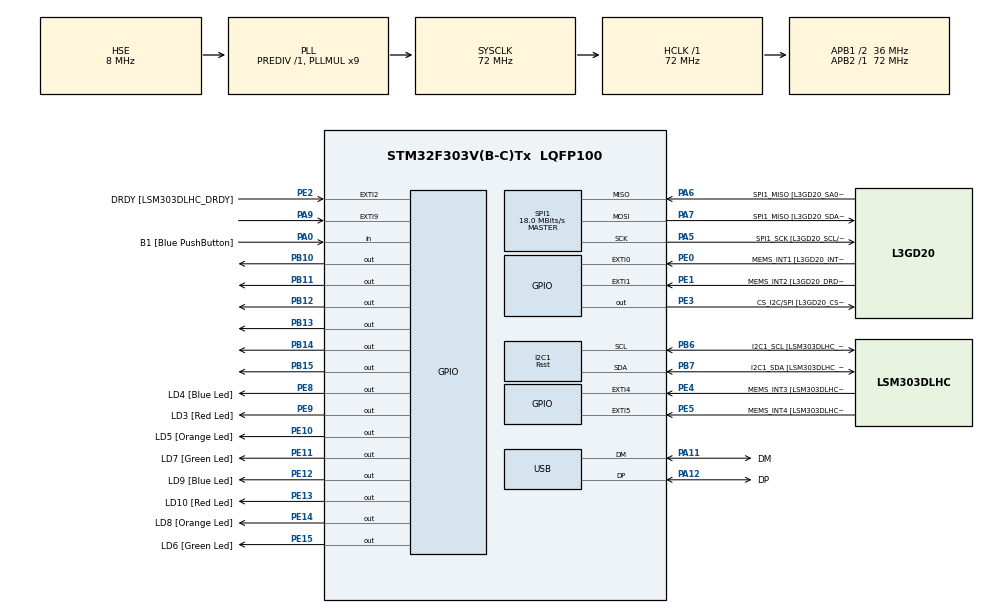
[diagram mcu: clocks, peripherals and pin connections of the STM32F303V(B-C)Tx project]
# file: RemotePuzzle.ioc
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I2C1.I2C_Speed_Mode=I2C_Fast
I2C1.Timing=0x0000020B
I2C1.Timing-I2C=0x2000090E
Mcu.Family=STM32F3
Mcu.Name=STM32F303V(B-C)Tx
Mcu.Package=LQFP100
NVIC.EXTI9_5_IRQn=true\:0\:0\:false\:false\:true\:true\:true\:true
NVIC.PriorityGroup=NVIC_PRIORITYGROUP_0
PA0.GPIO_Label=B1 [Blue PushButton]
PA0.Signal=GPIO_Input
PA11.GPIO_Label=DM
PA11.Mode=Device
PA11.Signal=USB_DM
PA12.GPIO_Label=DP
PA12.Mode=Device
PA12.Signal=USB_DP
PA13.GPIO_Label=SWDIO
PA13.Mode=Serial_Wire
PA13.Signal=SYS_JTMS-SWDIO
PA14.GPIO_Label=SWCLK
PA14.Mode=Serial_Wire
PA14.Signal=SYS_JTCK-SWCLK
PA5.GPIO_Label=SPI1_SCK [L3GD20_SCL/SPC]
PA5.Mode=Full_Duplex_Master
PA5.Signal=SPI1_SCK
PA6.GPIO_Label=SPI1_MISO [L3GD20_SA0/SDO]
PA6.Mode=Full_Duplex_Master
PA6.Signal=SPI1_MISO
PA7.GPIO_Label=SPI1_MISO [L3GD20_SDA/SDI/SDO]
PA7.Mode=Full_Duplex_Master
PA7.Signal=SPI1_MOSI
PA9.GPIO_ModeDefaultEXTI=GPIO_MODE_IT_FALLING
PA9.Signal=GPXTI9
PB10.Signal=GPIO_Output
PB11.Signal=GPIO_Output
PB12.Signal=GPIO_Output
PB13.Signal=GPIO_Output
PB14.Signal=GPIO_Output
PB15.Signal=GPIO_Output
PB3.GPIO_Label=SWO
PB3.Signal=SYS_JTDO-TRACESWO
PB6.GPIO_Label=I2C1_SCL [LSM303DLHC_SCL]
PB6.GPIO_Pu=GPIO_PULLUP
PB6.Mode=I2C
PB6.Signal=I2C1_SCL
PB7.GPIO_Label=I2C1_SDA [LSM303DLHC_SDA]
PB7.GPIO_Pu=GPIO_PULLUP
PB7.Mode=I2C
PB7.Signal=I2C1_SDA
PC14-OSC32_IN.GPIO_Label=OSC32_IN
PC14-OSC32_IN.Signal=RCC_OSC32_IN
PC15-OSC32_OUT.GPIO_Label=OSC32_OUT
PC15-OSC32_OUT.Signal=RCC_OSC32_OUT
PE0.GPIO_Label=MEMS_INT1 [L3GD20_INT1]
PE0.GPIO_ModeDefaultEXTI=GPIO_MODE_EVT_RISING
PE0.Signal=GPXTI0
PE1.GPIO_Label=MEMS_INT2 [L3GD20_DRDY/INT2]
PE1.GPIO_ModeDefaultEXTI=GPIO_MODE_EVT_RISING
PE1.Signal=GPXTI1
PE10.GPIO_Label=LD5 [Orange Led]
PE10.Signal=GPIO_Output
PE11.GPIO_Label=LD7 [Green Led]
PE11.Signal=GPIO_Output
PE12.GPIO_Label=LD9 [Blue Led]
PE12.Signal=GPIO_Output
PE13.GPIO_Label=LD10 [Red Led]
PE13.Signal=GPIO_Output
PE14.GPIO_Label=LD8 [Orange Led]
PE14.Signal=GPIO_Output
PE15.GPIO_Label=LD6 [Green Led]
PE15.Signal=GPIO_Output
PE2.GPIO_Label=DRDY [LSM303DLHC_DRDY]
PE2.GPIO_ModeDefaultEXTI=GPIO_MODE_EVT_RISING
PE2.Signal=GPXTI2
PE3.GPIO_Label=CS_I2C/SPI [L3GD20_CS_I2C/SPI]
PE3.Signal=GPIO_Output
PE4.GPIO_Label=MEMS_INT3 [LSM303DLHC_INT1]
PE4.GPIO_ModeDefaultEXTI=GPIO_MODE_EVT_RISING
PE4.Signal=GPXTI4
PE5.GPIO_Label=MEMS_INT4 [LSM303DLHC_INT2]
PE5.GPIO_ModeDefaultEXTI=GPIO_MODE_EVT_RISING
PE5.Signal=GPXTI5
PE8.GPIO_Label=LD4 [Blue Led]
PE8.Signal=GPIO_Output
PE9.GPIO_Label=LD3 [Red Led]
PE9.Signal=GPIO_Output
PF0-OSC_IN.GPIO_Label=OSC_IN
PF0-OSC_IN.Mode=HSE-External-Oscillator
PF0-OSC_IN.Signal=RCC_OSC_IN
PF1-OSC_OUT.GPIO_Label=OSC_OUT
PF1-OSC_OUT.Mode=HSE-External-Oscillator
PF1-OSC_OUT.Signal=RCC_OSC_OUT
ProjectManager.HeapSize=0x200
ProjectManager.StackSize=0x400
ProjectManager.TargetToolchain=STM32CubeIDE
RCC.AHBFreq_Value=72000000
RCC.APB1CLKDivider=RCC_HCLK_DIV2
RCC.APB1Freq_Value=36000000
RCC.APB1TimFreq_Value=72000000
RCC.APB2Freq_Value=72000000
RCC.APB2TimFreq_Value=72000000
RCC.CortexFreq_Value=72000000
RCC.HCLKFreq_Value=72000000
RCC.HSE_VALUE=8000000
RCC.HSI_VALUE=8000000
RCC.LSE_VALUE=32768
RCC.PLLMUL=RCC_PLL_MUL9
RCC.PRESCALERUSB=RCC_USBCLKSOURCE_PLL_DIV1_5
RCC.SYSCLKFreq_VALUE=72000000
RCC.SYSCLKSourceVirtual=RCC_SYSCLKSOURCE_PLLCLK
RCC.USBFreq_Value=48000000
SPI1.BaudRatePrescaler=SPI_BAUDRATEPRESCALER_4
SPI1.BaudRatePrescaler-Full_Duplex_Master=SPI_BAUDRATEPRESCALER_2
SPI1.CalculateBaudRate=18.0 MBits/s
SPI1.CalculateBaudRate-Full_Duplex_Master=24.0 MBits/s
SPI1.Direction=SPI_DIRECTION_2LINES
SPI1.Mode=SPI_MODE_MASTER
SPI1.Mode-Full_Duplex_Master=SPI_MODE_MASTER
SPI1.VirtualType=VM_MASTER
TIM1.Prescaler=71
TIM2.Channel-Output\ Compare1\ No\ Output=TIM_CHANNEL_1
TIM2.Prescaler=71
VP_TIM1_VS_ClockSourceINT.Mode=Internal
VP_TIM2_VS_ClockSourceINT.Mode=Internal
VP_TIM2_VS_no_output1.Mode=Output Compare1 No Output
board=STM32F3DISCOVERY

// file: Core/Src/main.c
/* USER CODE BEGIN Header */
/**
  ******************************************************************************
  * @file           : main.c
  * @brief          : Main program body
  ******************************************************************************
  * @attention
  *
  * Copyright (c) 2023 STMicroelectronics.
  * All rights reserved.
  *
  * This software is licensed under terms that can be found in the LICENSE file
  * in the root directory of this software component.
  * If no LICENSE file comes with this software, it is provided AS-IS.
  *
  ******************************************************************************
  */
/* USER CODE END Header */
#include "main.h"

/* USER CODE BEGIN Includes */
#include "lcd.h"
#include "liquidcrystal_I2c.h"
#include <string.h>
/* USER CODE END Includes */

I2C_HandleTypeDef hi2c1;

SPI_HandleTypeDef hspi1;

TIM_HandleTypeDef htim1;
TIM_HandleTypeDef htim2;

PCD_HandleTypeDef hpcd_USB_FS;

/* USER CODE BEGIN PV */
uint32_t tempCode;
uint8_t bitIndex;
uint8_t cmd;
uint8_t cmdli;
uint32_t code;

uint8_t wor_cord[2] = {10, 10};		//the working coordinate array, used to input and compare
uint8_t cord1[2] = {1, 6};			//one of the coordinates that the magnet will be under
uint8_t cord2[2] = {2, 3};
uint8_t cord3[2] = {6, 4};

uint8_t completion[3] = {0,0,0};	//Array to keep track of which coordinates have been identified

uint8_t input;

uint8_t *led_register = ((uint8_t*)&(GPIOE->ODR)) + 1;
uint8_t *integ_register = ((uint8_t*)&(GPIOD->ODR));
/* USER CODE END PV */

void SystemClock_Config(void);
static void MX_GPIO_Init(void);
static void MX_I2C1_Init(void);
static void MX_SPI1_Init(void);
static void MX_USB_PCD_Init(void);
static void MX_TIM1_Init(void);
static void MX_TIM2_Init(void);
/* USER CODE BEGIN PFP */
void initialise_board();

/* USER CODE END PFP */

int main(void)
{

  /* MCU Configuration--------------------------------------------------------*/

  /* Reset of all peripherals, Initializes the Flash interface and the Systick. */
  HAL_Init();

  /* Configure the system clock */
  SystemClock_Config();

  /* Initialize all configured peripherals */
  MX_GPIO_Init();
  MX_I2C1_Init();
  MX_SPI1_Init();
  MX_USB_PCD_Init();
  MX_TIM1_Init();
  MX_TIM2_Init();
  /* USER CODE BEGIN 2 */
  HD44780_Init(2);

	RCC->AHBENR |= RCC_AHBENR_GPIOEEN | RCC_AHBENR_GPIODEN;
	initialise_board();

	HAL_TIM_Base_Start(&htim2);
	__HAL_TIM_SET_COUNTER(&htim2, 0);

  // Lcd_PortType ports[] = { D4_GPIO_Port, D5_GPIO_Port, D6_GPIO_Port, D7_GPIO_Port };
  Lcd_PortType ports[] = { GPIOB, GPIOB, GPIOB, GPIOB };
  // Lcd_PinType pins[] = {D4_Pin, D5_Pin, D6_Pin, D7_Pin};
  Lcd_PinType pins[] = {GPIO_PIN_10, GPIO_PIN_11, GPIO_PIN_12, GPIO_PIN_13};
  Lcd_HandleTypeDef lcd;
  // Lcd_create(ports, pins, RS_GPIO_Port, RS_Pin, EN_GPIO_Port, EN_Pin, LCD_4_BIT_MODE);
  lcd = Lcd_create(ports, pins, GPIOB, GPIO_PIN_15, GPIOB, GPIO_PIN_14, LCD_4_BIT_MODE);

  char lcd_num[10];

  HD44780_Init(2);
  HD44780_Clear();

  Lcd_cursor(&lcd, 0, 1);
//  HD44780_SetCursor(0,1);
  Lcd_string(&lcd, "Code Input");
//  HD44780_PrintStr("Code Input");

  Lcd_cursor(&lcd, 1, 3);
//  HD44780_SetCursor(1,3);
  Lcd_string(&lcd, "Starting");
//  HD44780_PrintStr("Starting");

  HAL_Delay(2000);

  /* USER CODE END 2 */

  /* Infinite loop */
  while (1)
  {

    /* USER CODE BEGIN 3 */

	  for (int i = 0; i < 2; i++)
	  {
		  Lcd_clear(&lcd);
//		  HD44780_Clear();

		  Lcd_cursor(&lcd, 0, 0);
//		  HD44780_SetCursor(0,0);

		  Lcd_string(&lcd, "Press CH to ");
//		  HD44780_PrintStr("Press CH to ");

		  Lcd_cursor(&lcd, 1, 0);
//		  HD44780_SetCursor(1,0);

		  Lcd_string(&lcd, "input");
//		  HD44780_PrintStr("input");

		  while(code != 16736925){} // "CH"

		  Lcd_clear(&lcd);
//		  HD44780_Clear();

		  Lcd_cursor(&lcd, 0, 1);
//		  HD44780_SetCursor(0,1);

		  Lcd_string(&lcd, "Awaiting input");
//		  HD44780_PrintStr("Awaiting input");

		  Lcd_cursor(&lcd, 0, 15);
//		  HD44780_SetCursor(0,15);

		  Lcd_int(&lcd, i + 1);
//		   sprintf(lcd_num, "%d", i +1);
//		   HD44780_PrintStr(lcd_num);

		  while(code == 16736925){} // waits for the first input
		  Lcd_clear(&lcd);
//		  HD44780_Clear();

		  Lcd_cursor(&lcd, 0, 15);	//shows which number in the code your inputting
//		  HD44780_SetCursor(0,15);

		  Lcd_int(&lcd, i + 1);
//		   sprintf(lcd_num, "%d", i +1);
//		   HD44780_PrintStr(lcd_num);

		  Lcd_cursor(&lcd, 0, 0);
//		  HD44780_SetCursor(0,0);

		  Lcd_string(&lcd, "Received!");
//		  HD44780_PrintStr("Received");

		  Lcd_cursor(&lcd, 1, 3);
//		  HD44780_SetCursor(1,3);

		  Lcd_string(&lcd, "Input: ");
//		  HD44780_PrintStr("Input");

		  Lcd_cursor(&lcd, 1, 10);
//		  HD44780_SetCursor(1,10);

		  Lcd_int(&lcd, input);		//shows which number is passed as an input
//		   sprintf(lcd_num, "%d", input);
//		   HD44780_PrintStr(lcd_num);

		  wor_cord[i] = input;

		  HAL_Delay(2000);
	  }

	  Lcd_clear(&lcd);
//	  HD44780_Clear();

	  Lcd_cursor(&lcd, 0, 1);
//	  HD44780_SetCursor(0,1);

	  Lcd_string(&lcd, "Co-ord received:   ");
//	  HD44780_PrintStr("Co-ord received:   ");

	  int j = 1;
	  for (int i = 0; i < 2; i++)
	  {
		  Lcd_cursor(&lcd, 1, j);
//		  HD44780_SetCursor(1,j);

		  Lcd_int(&lcd, wor_cord[i]);
//		   sprintf(lcd_num, "%d", wor_cord[i]);
//		   HD44780_PrintStr(lcd_num);
		  j += 2;
	  }
	  Lcd_cursor(&lcd, 1, 2);
//	  HD44780_SetCursor(1,2);

	  Lcd_string(&lcd, ",");
//	  HD44780_PrintStr(",");

	  while(code != 16736925){} // "CH"

//	  uint8_t cord1[2] = {1, 6};			//one of the coordinates that the magnet will be under
//	  uint8_t cord2[2] = {2, 3};
//	  uint8_t cord3[2] = {6, 4};

	  if (*led_register == 0b00000111)
	  {
		  *integ_register = 0b1;	//to be connected to the next STM32 to indicate that the puzzle has been completed
		  break;
	  }
	  else if (compare(wor_cord, cord1))
	  {
		  *led_register |= 0b00000001 << 0;
	  }
	  else if (compare(wor_cord, cord2))
	  {
		  *led_register |= 0b00000001 << 1;
	  }
	  else if (compare(wor_cord, cord3))
	  {
		  *led_register |= 0b00000001 << 2;
	  }
	  else
	  {

	  }

  }
  /* USER CODE END 3 */
}

void SystemClock_Config(void)
{
  RCC_OscInitTypeDef RCC_OscInitStruct = {0};
  RCC_ClkInitTypeDef RCC_ClkInitStruct = {0};
  RCC_PeriphCLKInitTypeDef PeriphClkInit = {0};

  /** Initializes the RCC Oscillators according to the specified parameters
  * in the RCC_OscInitTypeDef structure.
  */
  RCC_OscInitStruct.OscillatorType = RCC_OSCILLATORTYPE_HSI|RCC_OSCILLATORTYPE_HSE;
  RCC_OscInitStruct.HSEState = RCC_HSE_ON;
  RCC_OscInitStruct.HSEPredivValue = RCC_HSE_PREDIV_DIV1;
  RCC_OscInitStruct.HSIState = RCC_HSI_ON;
  RCC_OscInitStruct.HSICalibrationValue = RCC_HSICALIBRATION_DEFAULT;
  RCC_OscInitStruct.PLL.PLLState = RCC_PLL_ON;
  RCC_OscInitStruct.PLL.PLLSource = RCC_PLLSOURCE_HSE;
  RCC_OscInitStruct.PLL.PLLMUL = RCC_PLL_MUL9;
  if (HAL_RCC_OscConfig(&RCC_OscInitStruct) != HAL_OK)
  {
    Error_Handler();
  }

  /** Initializes the CPU, AHB and APB buses clocks
  */
  RCC_ClkInitStruct.ClockType = RCC_CLOCKTYPE_HCLK|RCC_CLOCKTYPE_SYSCLK
                              |RCC_CLOCKTYPE_PCLK1|RCC_CLOCKTYPE_PCLK2;
  RCC_ClkInitStruct.SYSCLKSource = RCC_SYSCLKSOURCE_PLLCLK;
  RCC_ClkInitStruct.AHBCLKDivider = RCC_SYSCLK_DIV1;
  RCC_ClkInitStruct.APB1CLKDivider = RCC_HCLK_DIV2;
  RCC_ClkInitStruct.APB2CLKDivider = RCC_HCLK_DIV1;

  if (HAL_RCC_ClockConfig(&RCC_ClkInitStruct, FLASH_LATENCY_2) != HAL_OK)
  {
    Error_Handler();
  }
  PeriphClkInit.PeriphClockSelection = RCC_PERIPHCLK_USB|RCC_PERIPHCLK_I2C1
                              |RCC_PERIPHCLK_TIM1;
  PeriphClkInit.I2c1ClockSelection = RCC_I2C1CLKSOURCE_HSI;
  PeriphClkInit.USBClockSelection = RCC_USBCLKSOURCE_PLL_DIV1_5;
  PeriphClkInit.Tim1ClockSelection = RCC_TIM1CLK_HCLK;
  if (HAL_RCCEx_PeriphCLKConfig(&PeriphClkInit) != HAL_OK)
  {
    Error_Handler();
  }
}

static void MX_I2C1_Init(void)
{

  hi2c1.Instance = I2C1;
  hi2c1.Init.Timing = 0x0000020B;
  hi2c1.Init.OwnAddress1 = 0;
  hi2c1.Init.AddressingMode = I2C_ADDRESSINGMODE_7BIT;
  hi2c1.Init.DualAddressMode = I2C_DUALADDRESS_DISABLE;
  hi2c1.Init.OwnAddress2 = 0;
  hi2c1.Init.OwnAddress2Masks = I2C_OA2_NOMASK;
  hi2c1.Init.GeneralCallMode = I2C_GENERALCALL_DISABLE;
  hi2c1.Init.NoStretchMode = I2C_NOSTRETCH_DISABLE;
  if (HAL_I2C_Init(&hi2c1) != HAL_OK)
  {
    Error_Handler();
  }

  /** Configure Analogue filter
  */
  if (HAL_I2CEx_ConfigAnalogFilter(&hi2c1, I2C_ANALOGFILTER_ENABLE) != HAL_OK)
  {
    Error_Handler();
  }

  /** Configure Digital filter
  */
  if (HAL_I2CEx_ConfigDigitalFilter(&hi2c1, 0) != HAL_OK)
  {
    Error_Handler();
  }

}

static void MX_SPI1_Init(void)
{

  /* SPI1 parameter configuration*/
  hspi1.Instance = SPI1;
  hspi1.Init.Mode = SPI_MODE_MASTER;
  hspi1.Init.Direction = SPI_DIRECTION_2LINES;
  hspi1.Init.DataSize = SPI_DATASIZE_4BIT;
  hspi1.Init.CLKPolarity = SPI_POLARITY_LOW;
  hspi1.Init.CLKPhase = SPI_PHASE_1EDGE;
  hspi1.Init.NSS = SPI_NSS_SOFT;
  hspi1.Init.BaudRatePrescaler = SPI_BAUDRATEPRESCALER_4;
  hspi1.Init.FirstBit = SPI_FIRSTBIT_MSB;
  hspi1.Init.TIMode = SPI_TIMODE_DISABLE;
  hspi1.Init.CRCCalculation = SPI_CRCCALCULATION_DISABLE;
  hspi1.Init.CRCPolynomial = 7;
  hspi1.Init.CRCLength = SPI_CRC_LENGTH_DATASIZE;
  hspi1.Init.NSSPMode = SPI_NSS_PULSE_ENABLE;
  if (HAL_SPI_Init(&hspi1) != HAL_OK)
  {
    Error_Handler();
  }

}

static void MX_TIM1_Init(void)
{

  TIM_ClockConfigTypeDef sClockSourceConfig = {0};
  TIM_MasterConfigTypeDef sMasterConfig = {0};

  htim1.Instance = TIM1;
  htim1.Init.Prescaler = 71;
  htim1.Init.CounterMode = TIM_COUNTERMODE_UP;
  htim1.Init.Period = 65535;
  htim1.Init.ClockDivision = TIM_CLOCKDIVISION_DIV1;
  htim1.Init.RepetitionCounter = 0;
  htim1.Init.AutoReloadPreload = TIM_AUTORELOAD_PRELOAD_DISABLE;
  if (HAL_TIM_Base_Init(&htim1) != HAL_OK)
  {
    Error_Handler();
  }
  sClockSourceConfig.ClockSource = TIM_CLOCKSOURCE_INTERNAL;
  if (HAL_TIM_ConfigClockSource(&htim1, &sClockSourceConfig) != HAL_OK)
  {
    Error_Handler();
  }
  sMasterConfig.MasterOutputTrigger = TIM_TRGO_RESET;
  sMasterConfig.MasterOutputTrigger2 = TIM_TRGO2_RESET;
  sMasterConfig.MasterSlaveMode = TIM_MASTERSLAVEMODE_DISABLE;
  if (HAL_TIMEx_MasterConfigSynchronization(&htim1, &sMasterConfig) != HAL_OK)
  {
    Error_Handler();
  }

}

static void MX_TIM2_Init(void)
{

  TIM_ClockConfigTypeDef sClockSourceConfig = {0};
  TIM_MasterConfigTypeDef sMasterConfig = {0};
  TIM_OC_InitTypeDef sConfigOC = {0};

  htim2.Instance = TIM2;
  htim2.Init.Prescaler = 71;
  htim2.Init.CounterMode = TIM_COUNTERMODE_UP;
  htim2.Init.Period = 4294967295;
  htim2.Init.ClockDivision = TIM_CLOCKDIVISION_DIV1;
  htim2.Init.AutoReloadPreload = TIM_AUTORELOAD_PRELOAD_DISABLE;
  if (HAL_TIM_Base_Init(&htim2) != HAL_OK)
  {
    Error_Handler();
  }
  sClockSourceConfig.ClockSource = TIM_CLOCKSOURCE_INTERNAL;
  if (HAL_TIM_ConfigClockSource(&htim2, &sClockSourceConfig) != HAL_OK)
  {
    Error_Handler();
  }
  if (HAL_TIM_OC_Init(&htim2) != HAL_OK)
  {
    Error_Handler();
  }
  sMasterConfig.MasterOutputTrigger = TIM_TRGO_RESET;
  sMasterConfig.MasterSlaveMode = TIM_MASTERSLAVEMODE_DISABLE;
  if (HAL_TIMEx_MasterConfigSynchronization(&htim2, &sMasterConfig) != HAL_OK)
  {
    Error_Handler();
  }
  sConfigOC.OCMode = TIM_OCMODE_TIMING;
  sConfigOC.Pulse = 0;
  sConfigOC.OCPolarity = TIM_OCPOLARITY_HIGH;
  sConfigOC.OCFastMode = TIM_OCFAST_DISABLE;
  if (HAL_TIM_OC_ConfigChannel(&htim2, &sConfigOC, TIM_CHANNEL_1) != HAL_OK)
  {
    Error_Handler();
  }

}

static void MX_USB_PCD_Init(void)
{

  hpcd_USB_FS.Instance = USB;
  hpcd_USB_FS.Init.dev_endpoints = 8;
  hpcd_USB_FS.Init.speed = PCD_SPEED_FULL;
  hpcd_USB_FS.Init.phy_itface = PCD_PHY_EMBEDDED;
  hpcd_USB_FS.Init.low_power_enable = DISABLE;
  hpcd_USB_FS.Init.battery_charging_enable = DISABLE;
  if (HAL_PCD_Init(&hpcd_USB_FS) != HAL_OK)
  {
    Error_Handler();
  }

}

static void MX_GPIO_Init(void)
{
  GPIO_InitTypeDef GPIO_InitStruct = {0};

  /* GPIO Ports Clock Enable */
  __HAL_RCC_GPIOE_CLK_ENABLE();
  __HAL_RCC_GPIOC_CLK_ENABLE();
  __HAL_RCC_GPIOF_CLK_ENABLE();
  __HAL_RCC_GPIOA_CLK_ENABLE();
  __HAL_RCC_GPIOB_CLK_ENABLE();

  /*Configure GPIO pin Output Level */
  HAL_GPIO_WritePin(GPIOE, CS_I2C_SPI_Pin|LD4_Pin|LD3_Pin|LD5_Pin
                          |LD7_Pin|LD9_Pin|LD10_Pin|LD8_Pin
                          |LD6_Pin, GPIO_PIN_RESET);

  /*Configure GPIO pin Output Level */
  HAL_GPIO_WritePin(GPIOB, GPIO_PIN_10|GPIO_PIN_11|GPIO_PIN_12|GPIO_PIN_13
                          |GPIO_PIN_14|GPIO_PIN_15, GPIO_PIN_RESET);

  /*Configure GPIO pins : DRDY_Pin MEMS_INT3_Pin MEMS_INT4_Pin MEMS_INT1_Pin
                           MEMS_INT2_Pin */
  GPIO_InitStruct.Pin = DRDY_Pin|MEMS_INT3_Pin|MEMS_INT4_Pin|MEMS_INT1_Pin
                          |MEMS_INT2_Pin;
  GPIO_InitStruct.Mode = GPIO_MODE_EVT_RISING;
  GPIO_InitStruct.Pull = GPIO_NOPULL;
  HAL_GPIO_Init(GPIOE, &GPIO_InitStruct);

  /*Configure GPIO pins : CS_I2C_SPI_Pin LD4_Pin LD3_Pin LD5_Pin
                           LD7_Pin LD9_Pin LD10_Pin LD8_Pin
                           LD6_Pin */
  GPIO_InitStruct.Pin = CS_I2C_SPI_Pin|LD4_Pin|LD3_Pin|LD5_Pin
                          |LD7_Pin|LD9_Pin|LD10_Pin|LD8_Pin
                          |LD6_Pin;
  GPIO_InitStruct.Mode = GPIO_MODE_OUTPUT_PP;
  GPIO_InitStruct.Pull = GPIO_NOPULL;
  GPIO_InitStruct.Speed = GPIO_SPEED_FREQ_LOW;
  HAL_GPIO_Init(GPIOE, &GPIO_InitStruct);

  /*Configure GPIO pin : B1_Pin */
  GPIO_InitStruct.Pin = B1_Pin;
  GPIO_InitStruct.Mode = GPIO_MODE_INPUT;
  GPIO_InitStruct.Pull = GPIO_NOPULL;
  HAL_GPIO_Init(B1_GPIO_Port, &GPIO_InitStruct);

  /*Configure GPIO pins : PB10 PB11 PB12 PB13
                           PB14 PB15 */
  GPIO_InitStruct.Pin = GPIO_PIN_10|GPIO_PIN_11|GPIO_PIN_12|GPIO_PIN_13
                          |GPIO_PIN_14|GPIO_PIN_15;
  GPIO_InitStruct.Mode = GPIO_MODE_OUTPUT_PP;
  GPIO_InitStruct.Pull = GPIO_NOPULL;
  GPIO_InitStruct.Speed = GPIO_SPEED_FREQ_LOW;
  HAL_GPIO_Init(GPIOB, &GPIO_InitStruct);

  /*Configure GPIO pin : PA9 */
  GPIO_InitStruct.Pin = GPIO_PIN_9;
  GPIO_InitStruct.Mode = GPIO_MODE_IT_FALLING;
  GPIO_InitStruct.Pull = GPIO_NOPULL;
  HAL_GPIO_Init(GPIOA, &GPIO_InitStruct);

  /* EXTI interrupt init*/
  HAL_NVIC_SetPriority(EXTI9_5_IRQn, 0, 0);
  HAL_NVIC_EnableIRQ(EXTI9_5_IRQn);

}

/* USER CODE BEGIN 4 */
void HAL_GPIO_EXTI_Callback(uint16_t GPIO_Pin)
{
  if(GPIO_Pin == GPIO_PIN_9)
  {
    if (__HAL_TIM_GET_COUNTER(&htim2) > 8000)
    {
      tempCode = 0;
      bitIndex = 0;
    }
    else if (__HAL_TIM_GET_COUNTER(&htim2) > 1700)
    {
      tempCode |= (1UL << (31-bitIndex));   // write 1
      bitIndex++;
    }
    else if (__HAL_TIM_GET_COUNTER(&htim2) > 1000)
    {
      tempCode &= ~(1UL << (31-bitIndex));  // write 0
      bitIndex++;
    }
    if(bitIndex == 32)
    {
      cmdli = ~tempCode; // Logical inverted last 8 bits
      cmd = tempCode >> 8; // Second last 8 bits
      if(cmdli == cmd) // Check for errors
      {
        code = tempCode; // If no bit errors
        // Do your main work HERE

        switch (code)
        {
          case (16753245):
//            SSD1306_Puts ("CH-", &Font_16x26, 1);
            break;

          case (16736925):
//            SSD1306_Puts ("CH", &Font_16x26, 1);
            break;

          case (16769565):
//            SSD1306_Puts ("CH+", &Font_16x26, 1);
            break;

          case (16720605):
//            SSD1306_Puts ("|<<", &Font_16x26, 1);
            break;

          case (16712445):
//            SSD1306_Puts (">>|", &Font_16x26, 1);
            break;

          case (16761405):
//            SSD1306_Puts (">||", &Font_16x26, 1);
            break;

          case (16769055):
//            SSD1306_Puts ("-", &Font_16x26, 1);
            break;

          case (16754775):
//            SSD1306_Puts ("+", &Font_16x26, 1);
            break;

          case (16748655):
//            SSD1306_Puts ("EQ", &Font_16x26, 1);
            break;

          case (16738455):
//            SSD1306_Puts ("0", &Font_16x26, 1);
            break;

          case (16750695):
//            SSD1306_Puts ("100+", &Font_16x26, 1);
            break;

          case (16756815):
//            SSD1306_Puts ("200+", &Font_16x26, 1);
            break;

          case (16724175):
//            SSD1306_Puts ("1", &Font_16x26, 1);
			input = 1;
            break;

          case (16718055):
//            SSD1306_Puts ("2", &Font_16x26, 1);
			input = 2;
            break;

          case (16743045):
//            SSD1306_Puts ("3", &Font_16x26, 1);
			input = 3;
            break;

          case (16716015):
//            SSD1306_Puts ("4", &Font_16x26, 1);
			input = 4;
            break;

          case (16726215):
//            SSD1306_Puts ("5", &Font_16x26, 1);
			input = 5;
            break;

          case (16734885):
//            SSD1306_Puts ("6", &Font_16x26, 1);
			input = 6;
            break;

          case (16728765):
//            SSD1306_Puts ("7", &Font_16x26, 1);
			input = 7;
            break;

          case (16730805):
//            SSD1306_Puts ("8", &Font_16x26, 1);
			input = 8;
            break;

          case (16732845):
//            SSD1306_Puts ("9", &Font_16x26, 1);
			input = 9;
            break;

          default :
            break;
        }
      }
    bitIndex = 0;
    }
  __HAL_TIM_SET_COUNTER(&htim2, 0);
  }
}

int compare(uint8_t wor_cord[2], uint8_t comp_cord[2])
{
	int x;
	for (x = 0; x < 2; x++) {
		if (wor_cord[x] != comp_cord[x])
		{
			return 0;	//if not the same coordinate
		}
	}
	return 1;		//if the same coordinate
}

void initialise_board() {
	// get a pointer to the second half word of the MODER register (for outputs pe8-15)
	uint16_t *led_output_registers = ((uint16_t *)&(GPIOE->MODER)) + 1;
	*led_output_registers = 0x5555;
	uint16_t *intgration_registers = ((uint16_t *)&(GPIOD->MODER));
	*intgration_registers = 0x5555;
}

/* USER CODE END 4 */

void Error_Handler(void)
{
  __disable_irq();
  while (1)
  {
  }
}
